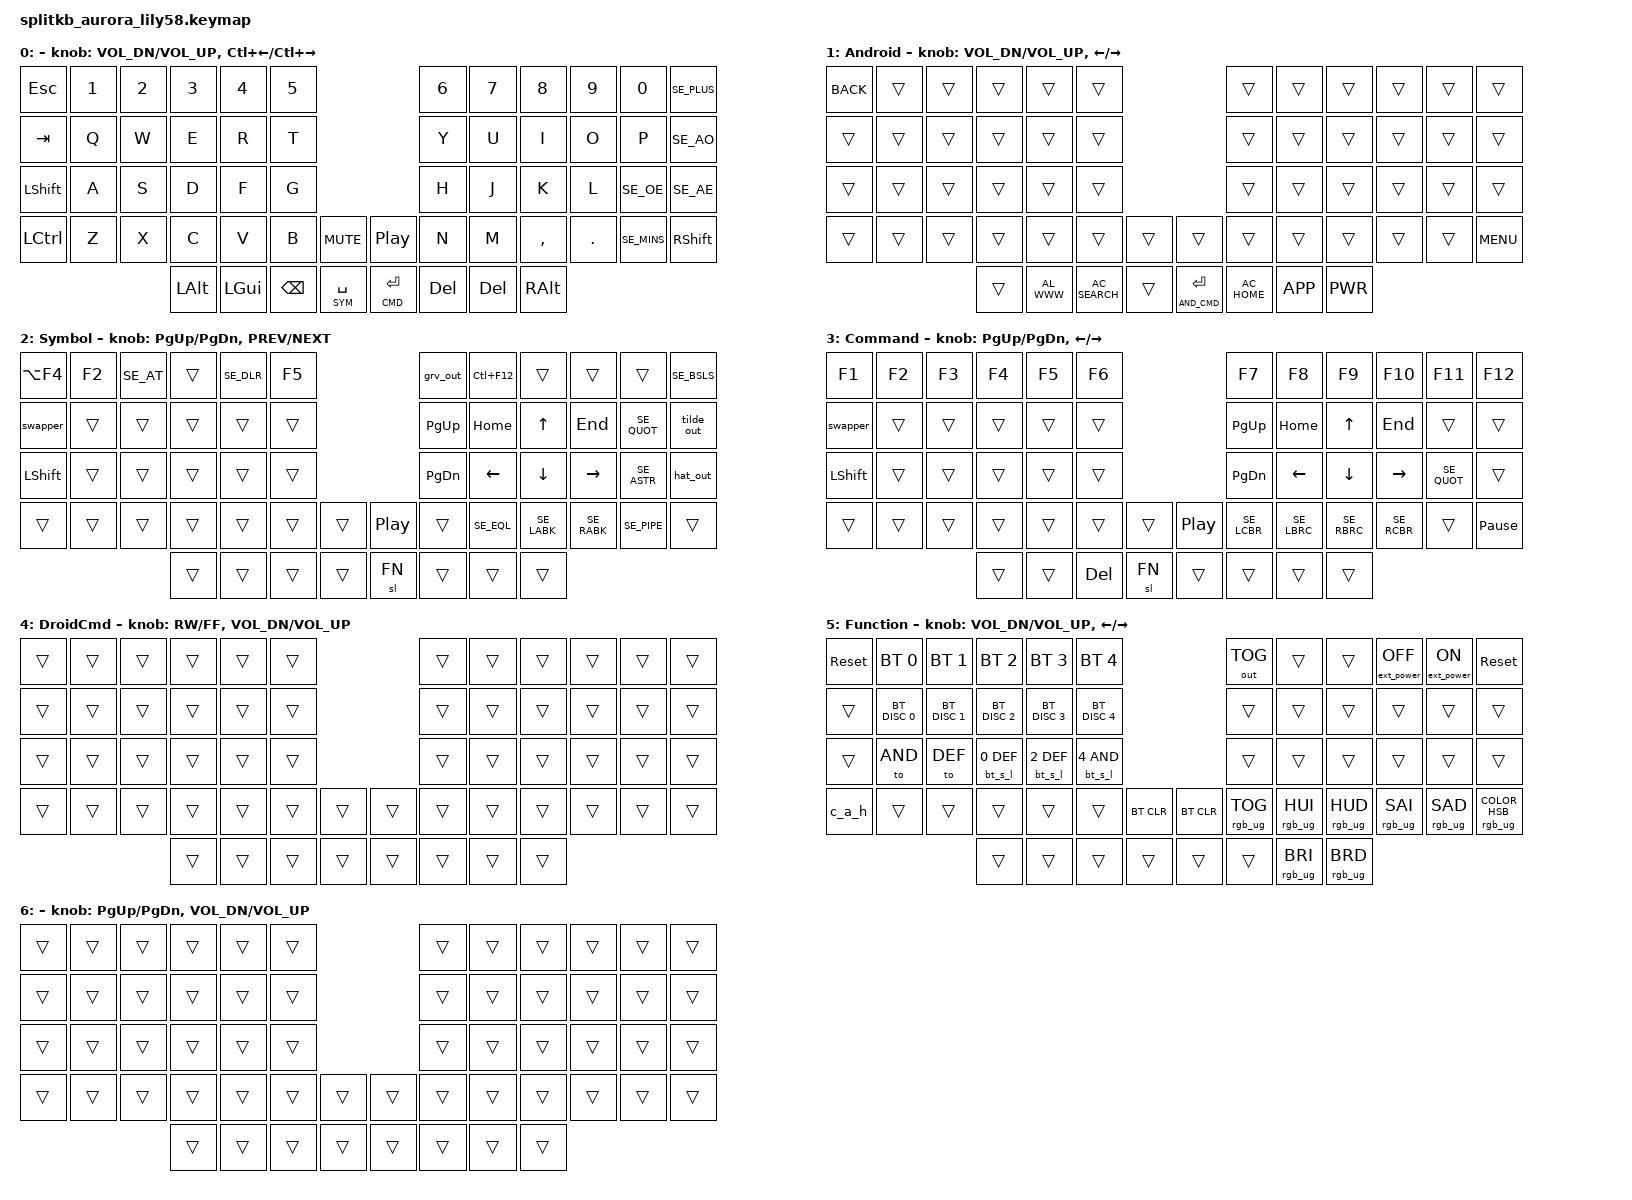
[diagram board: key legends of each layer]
/*
 * Copyright (c) 2022 The ZMK Contributors
 *
 * SPDX-License-Identifier: MIT
 */

#include <behaviors.dtsi>
#include <dt-bindings/zmk/bt.h>
#include <dt-bindings/zmk/keys.h>
#include <dt-bindings/zmk/outputs.h>
#include <dt-bindings/zmk/ext_power.h>
#include <dt-bindings/zmk/rgb.h>
#include "../swedish-keymap.h"

// Use all leds
// &spi3 { led_strip: ws2812@0 { chain-length = <34>; }; };

// None/Trans
#define _____ &none
#define t____ &trans

// Layers
#define DEF 0		// Default
#define AND 1		// Android
#define SYM 2		// Symbols
#define CMD 3		// Commands
#define AND_CMD 4	// Android functions
#define FN 5 		// Functions 

&left_encoder {
	steps = <72>;
};
&right_encoder {
	steps = <72>;
};

/ {

	sensors {
		compatible = "zmk,keymap-sensors";
		sensors = <&left_encoder &right_encoder>;
		triggers-per-rotation = <36>;
	};

	macros {
		bt_s_l: bt_s_l {
			compatible = "zmk,behavior-macro-two-param";
			#binding-cells = <2>;
			wait-ms = <100>;
			bindings
				= <&macro_param_1to2>
				, <&bt BT_SEL MACRO_PLACEHOLDER>
				, <&macro_param_2to1>
				, <&macro_pause_for_release>
				, <&to MACRO_PLACEHOLDER>
				;
		};
		 c_a_h: c_a_h {
			compatible = "zmk,behavior-macro";
			#binding-cells = <0>;
			wait-ms = <50>;
			bindings
				= <&macro_press &kp LCTRL &kp LALT>
				, <&macro_tap &kp HOME>
				, <&macro_release &kp LCTRL &kp LALT>
				, <&macro_press &kp LALT>
				, <&macro_tap &kp TAB>
				, <&macro_pause_for_release>
				, <&macro_release &kp LALT>
				;
		};
		grv_out: se_grave_output {
			compatible = "zmk,behavior-macro";
			#binding-cells = <0>;
			bindings
				= <&macro_tap &kp SE_GRV>
				, <&macro_tap &kp SPACE>
				;
		};
		tilde_out: se_tilde_output {
			compatible = "zmk,behavior-macro";
			#binding-cells = <0>;
			bindings
				= <&macro_tap &kp SE_TILD>
				, <&macro_tap &kp SPACE>
				;
		};
		hat_out: se_hat_output {
			compatible = "zmk,behavior-macro";
			#binding-cells = <0>;
			bindings
				= <&macro_tap &kp SE_HAT>
				, <&macro_tap &kp SPACE>
				;
		};
	};

	behaviors {
		qlt: quick_layer_tap {
			compatible = "zmk,behavior-hold-tap";
			#binding-cells = <2>;
			flavor = "hold-preferred";
			quick-tap-ms = <200>;
			tapping-term-ms = <125>;
			bindings = <&mo>, <&kp>;
		};

		// Swapper for smart alt+tab
		swapper: swapper {
			compatible = "zmk,behavior-tri-state";
			#binding-cells = <0>;
			bindings = <&kt LALT>, <&kp TAB>, <&kt LALT>;
			ignored-key-positions = <12 24>;
		};
	};

	keymap {
		compatible = "zmk,keymap";

		default_layer {
			display-name = " ";
// ------------------------------------------------------------------------------------------------------------
// |  ESC  |  1  |  2  |  3   |  4   |  5   |                   |  6   |  7    |  8    |  9   |   0   |   +   |
// |  TAB  |  Q  |  W  |  E   |  R   |  T   |                   |  Y   |  U    |  I    |  O   |   P   |   Å   |
// | SHIFT |  A  |  S  |  D   |  F   |  G   |                   |  H   |  J    |  K    |  L   |   Ö   |   Ä   |
// |  CTRL |  Z  |  X  |  C   |  V   |  B   |   MUTE |  | MUTE  |  N   |  M    |  ,    |  .   |   -   | SHIFT |
//                     | ALT  | GUI  | BSPC |  SPACE |  | ENTER | DEL  | BSPC  | RALT  |
			bindings = <
&kp ESC	 		&kp N1	 		&kp N2			&kp N3			&kp N4			&kp N5														&kp N6			&kp N7			&kp N8			&kp N9			&kp N0			&kp SE_PLUS
&kp TAB			&kp Q			&kp W			&kp E			&kp R			&kp T														&kp Y			&kp U			&kp I			&kp O			&kp P			&kp SE_AO
&kp LSHFT		&kp A			&kp S			&kp D			&kp F			&kp G														&kp H			&kp J			&kp K			&kp L			&kp SE_OE		&kp SE_AE
&kp LCTRL		&kp Z			&kp X			&kp C			&kp V			&kp B				&kp C_MUTE			&kp C_PLAY_PAUSE	&kp N			&kp M			&kp COMMA		&kp DOT			&kp SE_MINS 	&kp RSHFT
												&kp LALT		&kp LGUI		&kp BSPC			&qlt SYM SPACE		&qlt CMD RET		&kp DEL			&kp DEL			&kp RALT
			>;

			sensor-bindings = <
				&inc_dec_kp C_VOL_DN C_VOL_UP
				&inc_dec_kp LC(LEFT) LC(RIGHT)
			>;
		};
		
		android_layer {
			display-name = "Android";
// ------------------------------------------------------------------------------------------------------------
// |  ESC  |  1  |  2  |  3   |  4   |  5   |                   |  6   |  7    |  8    |  9   |   0   |   +   |
// |  TAB  |  Q  |  W  |  E   |  R   |  T   |                   |  Y   |  U    |  I    |  O   |   P   |   Å   |
// | SHIFT |  A  |  S  |  D   |  F   |  G   |                   |  H   |  J    |  K    |  L   |   Ö   |   Ä   |
// |  CTRL |  Z  |  X  |  C   |  V   |  B   |   "["  |  |  "]"  |  N   |  M    |  ,    |  .   |   -   | SHIFT |
//                     | ALT  | GUI  | LOWER|  SPACE |  | ENTER | RAISE| BSPC  | GUI   |
			bindings = <
&kp K_BACK		t____	 		t____			t____			t____			t____														t____			t____			t____	 		t____			t____			t____
t____			t____	 		t____			t____			t____			t____														t____			t____			t____	 		t____			t____			t____
t____			t____	 		t____			t____			t____			t____														t____			t____			t____	 		t____			t____			t____
t____			t____			t____			t____			t____			t____				t____				t____				t____			t____			t____	 		t____			t____			&kp K_MENU
												t____			&kp C_AL_WWW	&kp C_AC_SEARCH		t____				&qlt AND_CMD RET 	&kp C_AC_HOME	&kp K_APP		&kp K_PWR
			>;

			sensor-bindings = <
				&inc_dec_kp C_VOL_DN C_VOL_UP
				&inc_dec_kp LEFT RIGHT
			>;
		};

		sym_layer {
			display-name = "Symbol";
// ------------------------------------------------------------------------------------------------------------
// |       |     |     |      |      |      |                   |      |       |       |      |       |       |
// |   `   |  1  |  2  |  3   |  4   |  5   |                   |  6   |   7   |   8   |  9   |   0   |       |
// |   F1  |  F2 |  F3 |  F4  |  F5  |  F6  |                   |      |   <-  |   v   |  ^   |  ->   |       |
// |   F7  |  F8 |  F9 |  F10 |  F11 |  F12 |        |  |       |  +   |   -   |   =   |  [   |   ]   |   \   |
//                     |      |      |      |        |  |       |      |       |       |
			bindings = <
&kp LA(F4)		&kp F2			&kp SE_AT		t____			&kp SE_DLR		&kp F5														&grv_out		&kp LC(F12)		t____			t____			t____			&kp SE_BSLS
&swapper		t____	 		t____			t____			t____			t____														&kp PG_UP		&kp HOME		&kp UP			&kp END			&kp SE_QUOT		&tilde_out
&kp LSHFT		t____	 		t____			t____			t____			t____														&kp PG_DN		&kp LEFT		&kp DOWN		&kp RIGHT		&kp SE_ASTR		&hat_out
t____			t____			t____			t____			t____			t____				t____				&kp C_PLAY_PAUSE	t____			&kp SE_EQL		&kp SE_LABK		&kp SE_RABK		&kp SE_PIPE		t____
												t____			t____			t____ 				t____				&sl FN				t____			t____	 		t____
			>;
			sensor-bindings = <
				&inc_dec_kp PG_UP PG_DN
				&inc_dec_kp C_PREV C_NEXT
			>;
		};

		cmd_layer {
			display-name = "Command";
// ------------------------------------------------------------------------------------------------------------
// | BTCLR | BT1 | BT2 |  BT3 |  BT4 |  BT5 |                   |      |       |       |      |       |       |
// |  F1   |  F2 |  F3 |  F4  |  F5  |  F6  |                   |  F7  |  F8   |  F9   |  F10 |  F11  |  F12  |
// |   `   |  !  |  @  |  #   |  $   |  %   |                   |  ^   |  &    |  *    |  (   |   )   |   ~   |
// |       |     |     |      |      |      |        |  |       |      |  _    |  +    |  {   |   }   |  "|"  |
//                     |      |      |      |        |  |       |      |       |       |
			bindings = <
&kp F1			&kp F2			&kp F3			&kp F4			&kp F5			&kp F6														&kp F7			&kp F8			&kp F9			&kp F10			&kp F11			&kp F12
&swapper		t____			t____			t____			t____			t____														&kp PG_UP		&kp HOME		&kp UP			&kp END			t____			t____
&kp LSHFT		t____			t____			t____			t____			t____														&kp PG_DN		&kp LEFT		&kp DOWN		&kp RIGHT		&kp SE_QUOT		t____
t____			t____			t____			t____			t____			t____				t____				&kp C_PLAY_PAUSE	&kp SE_LCBR		&kp SE_LBRC		&kp SE_RBRC		&kp SE_RCBR		t____			&kp PAUSE_BREAK
												t____			t____			&kp DEL				&sl FN				t____				t____			t____			t____
			>;

			sensor-bindings = <
				&inc_dec_kp PG_UP PG_DN
				&inc_dec_kp LEFT RIGHT
			>;
		};
		
		android_cmd_layer {
			display-name = "DroidCmd";
// ------------------------------------------------------------------------------------------------------------
// |       |     |     |      |      |      |                   |      |       |       |      |       |       |
// |   `   |  1  |  2  |  3   |  4   |  5   |                   |  6   |   7   |   8   |  9   |   0   |       |
// |   F1  |  F2 |  F3 |  F4  |  F5  |  F6  |                   |      |   <-  |   v   |  ^   |  ->   |       |
// |   F7  |  F8 |  F9 |  F10 |  F11 |  F12 |        |  |       |  +   |   -   |   =   |  [   |   ]   |   \   |
//                     |      |      |      |        |  |       |      |       |       |
			bindings = <
t____			t____	 		t____			t____			t____			t____														t____			t____			t____	 		t____			t____			t____
t____			t____	 		t____			t____			t____			t____														t____			t____			t____	 		t____			t____			t____
t____			t____	 		t____			t____			t____			t____														t____			t____			t____	 		t____			t____			t____
t____			t____	 		t____			t____			t____			t____				t____				t____				t____			t____			t____	 		t____			t____			t____
												t____			t____			t____ 				t____				t____				t____			t____			t____
			>;
			sensor-bindings = <
				&inc_dec_kp C_RW C_FF
				&inc_dec_kp C_VOL_DN C_VOL_UP
			>;
		};

		fn_layer {
			display-name = "Function";
// ------------------------------------------------------------------------------------------------------------
// |       |     |     |      |      |      |                   |      |       |       |      |       |       |
// |   `   |  1  |  2  |  3   |  4   |  5   |                   |  6   |   7   |   8   |  9   |   0   |       |
// |   F1  |  F2 |  F3 |  F4  |  F5  |  F6  |                   |      |   <-  |   v   |  ^   |  ->   |       |
// |   F7  |  F8 |  F9 |  F10 |  F11 |  F12 |        |  |       |  +   |   -   |   =   |  [   |   ]   |   \   |
//                     |      |      |      |        |  |       |      |       |       |
			bindings = <
&sys_reset		&bt BT_SEL 0	&bt BT_SEL 1	&bt BT_SEL 2	&bt BT_SEL 3	&bt BT_SEL 4												&out OUT_TOG 	t____			t____			&ext_power EP_OFF &ext_power EP_ON &sys_reset
t____			&bt BT_DISC 0	&bt BT_DISC 1	&bt BT_DISC 2	&bt BT_DISC 3	&bt BT_DISC 4												t____			t____			t____			t____			t____			t____
t____			&to AND			&to DEF			&bt_s_l 0 DEF 	&bt_s_l 2 DEF 	&bt_s_l 4 AND												t____			t____			t____			t____			t____			t____
&c_a_h			t____			t____			t____			t____			t____				&bt BT_CLR			&bt BT_CLR			&rgb_ug RGB_TOG	&rgb_ug RGB_HUI &rgb_ug RGB_HUD	&rgb_ug RGB_SAI &rgb_ug RGB_SAD &rgb_ug RGB_COLOR_HSB(0, 0, 2)
												t____			t____			t____ 				t____				t____				t____			&rgb_ug RGB_BRI	&rgb_ug RGB_BRD
			>;
			sensor-bindings = <
				&inc_dec_kp C_VOL_DN C_VOL_UP
				&inc_dec_kp LEFT RIGHT
			>;
		};

		empty_layer {
			display-name = " ";
// ------------------------------------------------------------------------------------------------------------
// |       |     |     |      |      |      |                   |      |       |       |      |       |       |
// |   `   |  1  |  2  |  3   |  4   |  5   |                   |  6   |   7   |   8   |  9   |   0   |       |
// |   F1  |  F2 |  F3 |  F4  |  F5  |  F6  |                   |      |   <-  |   v   |  ^   |  ->   |       |
// |   F7  |  F8 |  F9 |  F10 |  F11 |  F12 |        |  |       |  +   |   -   |   =   |  [   |   ]   |   \   |
//                     |      |      |      |        |  |       |      |       |       |
			bindings = <
t____			t____	 		t____			t____			t____			t____														t____			t____			t____	 		t____			t____			t____
t____			t____	 		t____			t____			t____			t____														t____			t____			t____	 		t____			t____			t____
t____			t____	 		t____			t____			t____			t____														t____			t____			t____	 		t____			t____			t____
t____			t____	 		t____			t____			t____			t____				t____				t____				t____			t____			t____	 		t____			t____			t____
												t____			t____			t____ 				t____				t____				t____			t____			t____
			>;
			sensor-bindings = <
				&inc_dec_kp PG_UP PG_DN
				&inc_dec_kp C_VOL_DN C_VOL_UP
			>;
		};
	};
};
